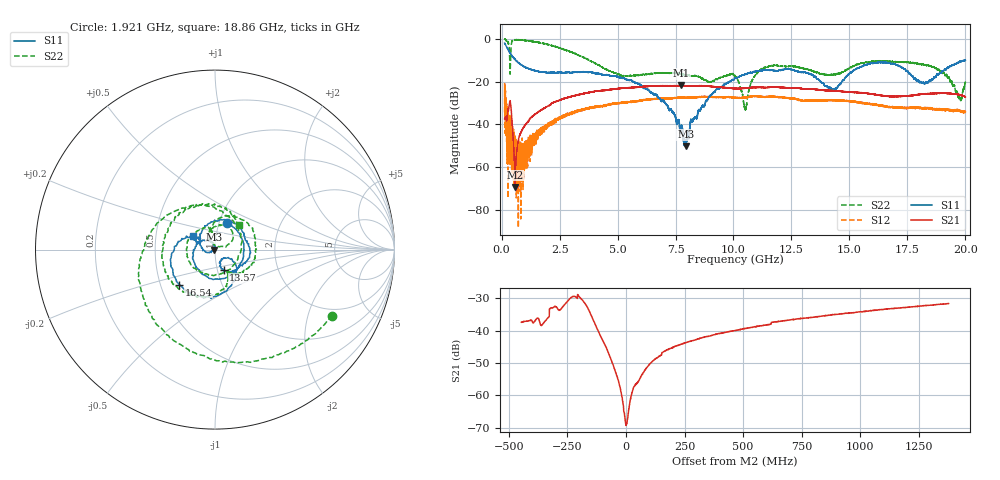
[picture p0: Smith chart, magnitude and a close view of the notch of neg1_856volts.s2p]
!Created with skrf (http://scikit-rf.org).
# GHz S RI R 50.0
!freq ReS11 ImS11 ReS21 ImS21 ReS12 ImS12 ReS22 ImS22
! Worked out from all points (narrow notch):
!   20013 points, 130 MHz to 20 GHz, reference 50 ohm
!   highest |S21| = -21.83 dB at 7.754 GHz (marker M1); lowest = -69.2 dB at 577 MHz (marker M2)
!   notch at M2: 45.0 dB deep, 230 MHz wide at half that depth
!   lowest |S11| = -50.1 dB at 7.942 GHz (marker M3), VSWR 1.01, Z = 49.7 - j0.0551 ohm
!   |S11| at or under -10 dB: 605.4 MHz to 19.99 GHz (19.38 GHz wide, 188 % of centre); 19.98944 GHz to 19.99536 GHz (5.919 MHz wide, 0.0296 % of centre); 19.9961 GHz to 19.99781 GHz (1.704 MHz wide, 0.00852 % of centre)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
!   |S22| runs from -33.3 to -0.2 dB; largest |S21 - S12| = 0.08
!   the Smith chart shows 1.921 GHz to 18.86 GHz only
!   S11 on the Smith chart (normalised r, x): 1.921 GHz: 1.09, +0.33; 13.57 GHz: 1.07, -0.25; 16.54 GHz: 0.63, -0.26; 18.86 GHz: 0.77, +0.13
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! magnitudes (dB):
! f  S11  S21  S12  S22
! 130 MHz  -2.1  -37.4  -34.4  -0.2
! 362 MHz  -6.6  -29.6  -44.1  -16.0
! 577 MHz  -9.7  -69.2  -62.8  -0.4
! 956 MHz  -13.0  -41.3  -54.5  -0.7
! 1.921 GHz  -15.7  -31.8  -40.2  -2.5
! 3.442 GHz  -15.6  -25.9  -33.1  -8.3
! 6.754 GHz  -27.3  -22.0  -27.9  -16.0
! 7.754 GHz  -40.7  -21.8  -27.3  -16.6
! 7.942 GHz  -50.1  -22.0  -27.7  -16.9
! 8.922 GHz  -27.6  -22.1  -27.2  -20.1
! 10.06 GHz  -18.4  -23.2  -27.4  -17.3
! 10.51 GHz  -16.6  -23.1  -27.6  -33.1
! 11.27 GHz  -14.8  -22.8  -27.2  -13.8
! 13.38 GHz  -16.7  -23.6  -28.8  -14.9
! 13.57 GHz  -18.2  -23.7  -29.0  -15.8
! 14.34 GHz  -23.6  -24.3  -28.8  -16.6
! 16.54 GHz  -11.1  -26.7  -31.6  -10.5
! 16.69 GHz  -11.3  -26.8  -31.9  -10.6
! 18.18 GHz  -20.4  -25.8  -32.3  -12.0
! 18.86 GHz  -16.5  -25.5  -33.1  -14.4
! 19.76 GHz  -10.7  -26.2  -33.8  -27.5
! 20 GHz  -10.0  -27.2  -34.0  -20.2
